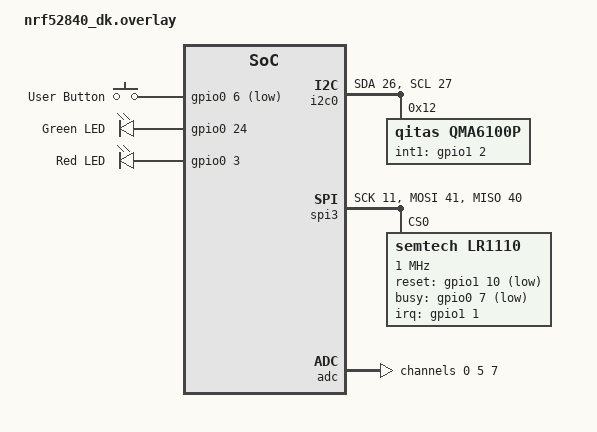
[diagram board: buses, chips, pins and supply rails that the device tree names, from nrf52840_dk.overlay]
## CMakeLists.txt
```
cmake_minimum_required(VERSION 3.20.0)

find_package(Zephyr REQUIRED HINTS $ENV{ZEPHYR_BASE})
project(app)

target_sources(app PRIVATE src/main.c)

target_include_directories(app PRIVATE
    ${QMA6100P_MODULE_DIR}
) 
```

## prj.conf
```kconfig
# Bluetooth configuration
CONFIG_BT=y
CONFIG_BT_PERIPHERAL=y
CONFIG_BT_DEVICE_NAME="T1000-E"
CONFIG_BT_DEVICE_APPEARANCE=833
CONFIG_BT_MAX_CONN=1
CONFIG_BT_MAX_PAIRED=1

# Enable console and logging
CONFIG_CONSOLE=y
CONFIG_UART_CONSOLE=y
CONFIG_SERIAL=y
CONFIG_LOG=y

# Enable GPIO for buttons/LEDs
CONFIG_GPIO=y

# Enable timer support
CONFIG_TIMER=y

# Enable printk for debugging
CONFIG_PRINTK=y

# Enable system workqueue
CONFIG_SYSTEM_WORKQUEUE=y 
```

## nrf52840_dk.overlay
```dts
/*
 * Copyright (c) 2023 Seeed Studio
 *
 * SPDX-License-Identifier: Apache-2.0
 */

/ {
    aliases {
        /* Alias for the accelerometer */
        accel0 = &qma6100p;
        /* Alias for the LR1110 SPI bus */
        lora0 = &lr1110;
        /* Alias for Analog-to-Digital Converter */
        adc = &adc;
    };

    /* Buttons */
    buttons {
        compatible = "gpio-keys";
        user_button: button_0 {
            label = "User Button";
            gpios = <&gpio0 6 (GPIO_PULL_UP | GPIO_ACTIVE_LOW)>;
        };
    };

    /* LEDs */
    leds {
        compatible = "gpio-leds";
        led_green: led_0 {
            gpios = <&gpio0 24 GPIO_ACTIVE_HIGH>;
            label = "Green LED";
        };
        led_red: led_1 {
            gpios = <&gpio0 3 GPIO_ACTIVE_HIGH>;
            label = "Red LED";
        };
    };
};

/* I2C bus for the accelerometer */
&i2c0 {
    compatible = "nordic,nrf-twim";
    status = "okay";
    scl-pin = <27>; /* P0.27 */
    sda-pin = <26>; /* P0.26 */

    qma6100p: qma6100p@12 {
        compatible = "qitas,qma6100p";
        reg = <0x12>;
        label = "QMA6100P";
        int1-gpios = <&gpio1 2 (GPIO_PULL_UP | GPIO_ACTIVE_HIGH)>; /* P1.02 */
    };
};

/* SPI bus for the LR1110 */
&spi3 {
    compatible = "nordic,nrf-spim";
    status = "okay";
    sck-pin = <11>;  /* P0.11 */
    mosi-pin = <41>; /* P1.09 */
    miso-pin = <40>; /* P1.08 */

    lr1110: lr1110@0 {
        compatible = "semtech,lr1110";
        reg = <0>;
        spi-max-frequency = <1000000>;
        reset = <&gpio1 10 GPIO_ACTIVE_LOW>; /* P1.10 */
        busy = <&gpio0 7 GPIO_ACTIVE_LOW>;  /* P0.07 */
        cs-gpios = <&gpio0 12 (GPIO_ACTIVE_LOW | GPIO_SPI_CS_INACTIVE)>;
        irq-gpios = <&gpio1 1 (GPIO_PULL_UP | GPIO_ACTIVE_HIGH)>; /* P1.01 */
    };
};

/* ADC for onboard sensors */
&adc {
    status = "okay";
    #address-cells = <1>;
    #size-cells = <0>;

    io-channels = <&adc NRF_SAADC_INPUT_AIN0>,
                  <&adc NRF_SAADC_INPUT_AIN5>,
                  <&adc NRF_SAADC_INPUT_AIN7>;

    channel@0 {
        reg = <0>;
        zephyr,gain = "ADC_GAIN_1_6";
        zephyr,reference = "ADC_REF_INTERNAL";
        zephyr,acquisition-time = <ADC_ACQ_TIME_DEFAULT>;
        zephyr,input-positive = <NRF_SAADC_INPUT_AIN0>; /* P0.02 for Battery */
    };
    channel@5 {
        reg = <5>;
        zephyr,gain = "ADC_GAIN_1_6";
        zephyr,reference = "ADC_REF_INTERNAL";
        zephyr,acquisition-time = <ADC_ACQ_TIME_DEFAULT>;
        zephyr,input-positive = <NRF_SAADC_INPUT_AIN5>; /* P0.29 for Photoresistor */
    };
    channel@7 {
        reg = <7>;
        zephyr,gain = "ADC_GAIN_1_6";
        zephyr,reference = "ADC_REF_INTERNAL";
        zephyr,acquisition-time = <ADC_ACQ_TIME_DEFAULT>;
        zephyr,input-positive = <NRF_SAADC_INPUT_AIN7>; /* P0.31 for NTC Temp */
    };
}; 
```

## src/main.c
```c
/*
 * Copyright (c) 2023 Nordic Semiconductor ASA
 *
 * SPDX-License-Identifier: Apache-2.0
 */

#include <kernel.h>
#include <sys/printk.h>
#include <stdio.h>
#include <bluetooth/bluetooth.h>
#include <bluetooth/hci.h>
#include <drivers/gpio.h>

#define DEVICE_NAME CONFIG_BT_DEVICE_NAME
#define DEVICE_NAME_LEN (sizeof(DEVICE_NAME) - 1)

/* Timer for periodic sensor reading */
static void sensor_read_timer_handler(struct k_timer *dummy);
K_TIMER_DEFINE(sensor_read_timer, sensor_read_timer_handler, NULL);

/*
 * Set up iBeacon advertisement data.
 *
 * This data contains the Apple-specific manufacturer data format for iBeacons.
 * UUID: E2C56DB5-DFFB-48D2-B060-D0F5A71096E0
 * Major: 1
 * Minor: 1
 * Measured Power (RSSI at 1m): -59 dBm
 */
static const struct bt_data ad[] = {
	BT_DATA_BYTES(BT_DATA_FLAGS, (BT_LE_AD_GENERAL | BT_LE_AD_NO_BREDR)),
	BT_DATA_BYTES(BT_DATA_MANUFACTURER_DATA,
		      0x4c, 0x00, /* Apple */
		      0x02, 0x15, /* iBeacon */
		      0xe2, 0xc5, 0x6d, 0xb5, 0xdf, 0xfb, 0x48, 0xd2, /* UUID[15..8] */
		      0xb0, 0x60, 0xd0, 0xf5, 0xa7, 0x10, 0x96, 0xe0, /* UUID[7..0] */
		      0x00, 0x01, /* Major */
		      0x00, 0x01, /* Minor */
		      0xc5)      /* Measured Power */
};

/* Set up scan response data */
static uint8_t dev_name[sizeof("t1000-XXXXXX")] = "t1000-";
static struct bt_data sd[] = {
    BT_DATA(BT_DATA_NAME_COMPLETE, dev_name, sizeof(dev_name) -1),
};

static void bt_ready(void)
{
	char addr_s[BT_ADDR_LE_STR_LEN];
	bt_addr_le_t addr = {0};
	size_t count = 1;
	int err;

	/* Get the device address */
	bt_id_get(&addr, &count);

	/* Format the device name to t1000-[last 6 of mac] */
	snprintf(dev_name + 6, 7, "%02X%02X%02X", addr.a.val[2], addr.a.val[1], addr.a.val[0]);

	/* Use the correct advertising parameter for Zephyr 2.7.1 */
	err = bt_le_adv_start(BT_LE_ADV_CONN_NAME, ad, ARRAY_SIZE(ad), sd, ARRAY_SIZE(sd));
	if (err) {
		printk("Advertising failed to start (err %d)\n", err);
		return;
	}

    bt_addr_le_to_str(&addr, addr_s, sizeof(addr_s));
	printk("Beacon started, advertising as %s with address %s\n", dev_name, addr_s);
}

static void sensor_read_timer_handler(struct k_timer *dummy)
{
    printk("\n--- Sensor Readings ---\n");
    printk("TODO: Add ADC and accelerometer readings\n");
    printk("-----------------------\n");
}

void main(void)
{
	int err;

	printk("Starting T1000-E Tracker\n");

	/* Initialize the Bluetooth Subsystem */
	err = bt_enable(NULL);
	if (err) {
		printk("Bluetooth init failed (err %d)\n", err);
		return;
	}
	bt_ready();
    printk("Bluetooth initialized\n");

    /* Start periodic timer for sensor reads */
    k_timer_start(&sensor_read_timer, K_SECONDS(5), K_SECONDS(10));
    printk("Started sensor read timer.\n");
}
```
